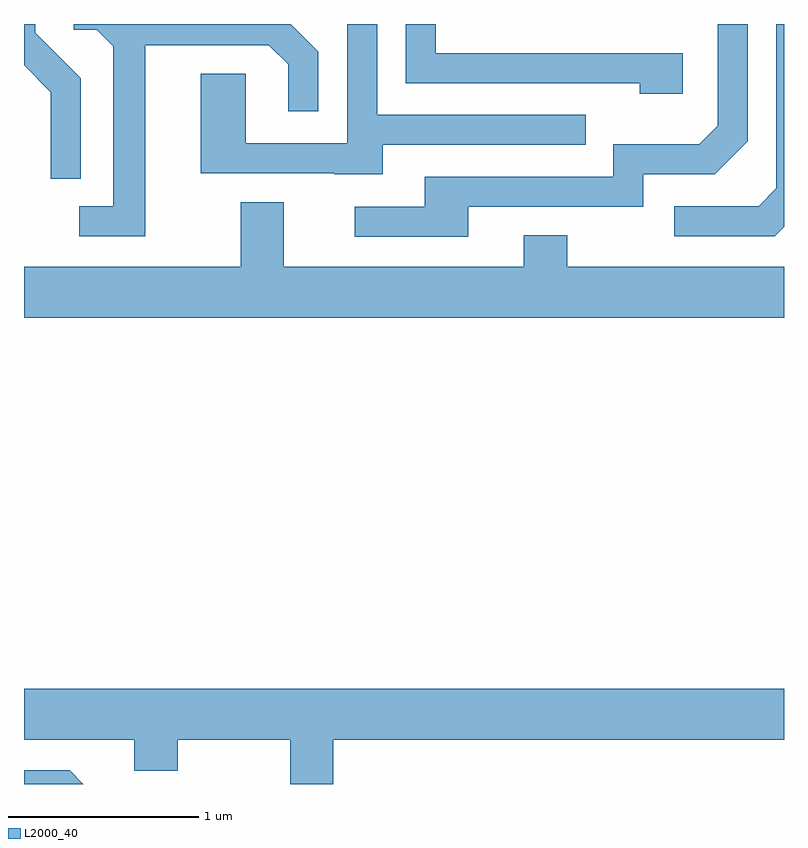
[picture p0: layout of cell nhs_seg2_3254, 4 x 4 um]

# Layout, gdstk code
import gdstk
lib = gdstk.Library(unit=1e-6, precision=1e-09)
def P(c, l, *ps):  # polygons
    for p in ps: c.add(gdstk.Polygon(p, *l))
L2000_40 = (2000, 40)

nhs_seg2_3254 = lib.new_cell('nhs_seg2_3254')
P(nhs_seg2_3254, L2000_40, [(283.611,1108.735),(283.611,1109.802),(283.571,1109.802),(283.571,1108.937),(283.479,1108.844),(283.033,1108.844),(283.033,1108.686),(283.562,1108.686)],
  [(280.249,1109.691),(280.899,1109.691),(281.001,1109.589),(281.001,1109.343),(281.159,1109.343),(281.159,1109.657),(281.014,1109.802),(279.873,1109.802),(279.873,1109.771),(279.994,1109.771),(280.081,1109.684),(280.081,1108.844),(279.903,1108.844),(279.903,1108.686),(280.249,1108.686)],
  [(279.909,1109.517),(279.669,1109.757),(279.669,1109.802),(279.611,1109.802),(279.611,1109.584),(279.751,1109.444),(279.751,1108.988),(279.909,1108.988)],
  [(283.079,1109.649),(281.779,1109.649),(281.779,1109.802),(281.621,1109.802),(281.621,1109.491),(282.851,1109.491),(282.851,1109.436),(283.079,1109.436)],
  [(281.949,1108.841),(282.869,1108.841),(282.869,1109.011),(283.247,1109.011),(283.419,1109.184),(283.419,1109.802),(283.261,1109.802),(283.261,1109.267),(283.164,1109.169),(282.711,1109.169),(282.711,1108.999),(281.721,1108.999),(281.721,1108.839),(281.353,1108.839),(281.353,1108.681),(281.949,1108.681)],
  [(281.499,1109.166),(282.568,1109.166),(282.568,1109.324),(281.469,1109.324),(281.469,1109.802),(281.311,1109.802),(281.311,1109.174),(280.779,1109.174),(280.779,1109.539),(280.541,1109.539),(280.541,1109.016),(281.245,1109.016),(281.245,1109.011),(281.499,1109.011)],
  [(283.611,1108.524),(282.469,1108.524),(282.469,1108.689),(282.241,1108.689),(282.241,1108.524),(280.979,1108.524),(280.979,1108.864),(280.751,1108.864),(280.751,1108.524),(279.611,1108.524),(279.611,1108.256),(283.611,1108.256)],
  [(281.239,1106.036),(283.611,1106.036),(283.611,1106.304),(279.611,1106.304),(279.611,1106.036),(280.191,1106.036),(280.191,1105.871),(280.419,1105.871),(280.419,1106.036),(281.011,1106.036),(281.011,1105.802),(281.239,1105.802)],
  [(279.852,1105.874),(279.611,1105.874),(279.611,1105.802),(279.924,1105.802)])

lib.write_gds('nhs_seg2_3254.gds')
